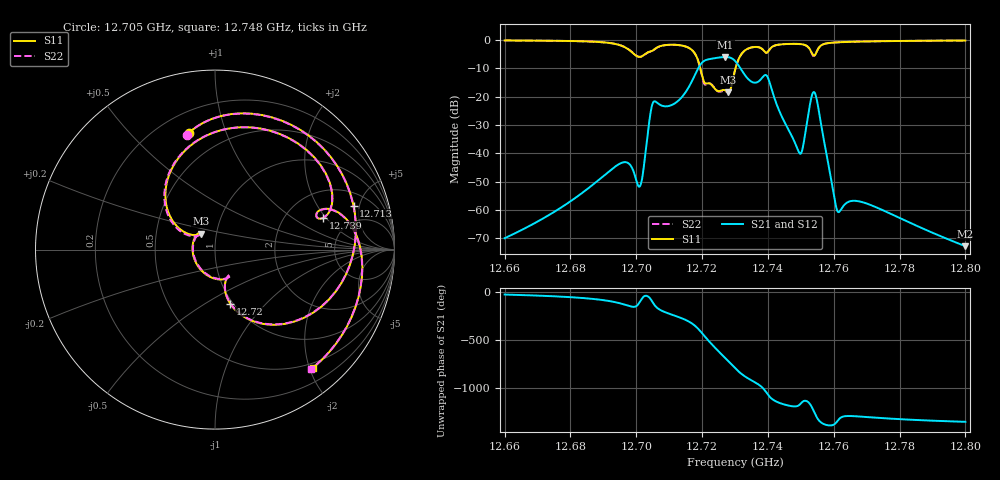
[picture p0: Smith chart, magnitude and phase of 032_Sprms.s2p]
! TOUCHSTONE file generated by CST MICROWAVE STUDIO
! Date and time: Wed Jul 31 12:16:33 2024
! Project name: WaveGuide_BPF-Ver4.1_U-shape_Ku_T3_C4_CWA_2.cst
! Parameters = {cavity_h=16; cavity_l0=10; cavity_l1=15.1814; cavity_l2=16.877; cavity_l3=17.1313; cavity_l4=17.2266; cavity_l5=17.1348; cavity_l6=17.6271; cavity_r=2.5; cavity_screw_l=0.5; cavity_screw_r=1.5; cavity_w=8; iris_h00=0; iris_h01=8.8243; iris_h112=0; iris_h12=5.5989; iris_h211=3.6547; i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
! Header version: 2018
! Port assignment regex: !\s*Touchstone port\s*([0-9]+)\s*=\s*(CST MWS port|CST DS port)\s*([0-9]+|Zmin|Zmax)\s*\(\"(.*)\"\)(\s*mode\s*([0-9]+))?.*
! Touchstone port assignment:
! Touchstone port 1 = CST MWS port 1 ("")
! Touchstone port 2 = CST MWS port 2 ("")
# GHz S RI R 50
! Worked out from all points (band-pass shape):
!   5001 points, 12.66 GHz to 12.8 GHz, reference 50 ohm
!   highest |S21| = -6.00 dB at 12.727 GHz (marker M1); lowest = -72.8 dB at 12.8 GHz (marker M2)
!   |S21| within 3 dB of the highest: 12.71932 GHz to 12.73109 GHz (11.78 MHz wide, 0.0925 % of centre)
!   lowest |S11| = -18.4 dB at 12.728 GHz (marker M3), VSWR 1.27, Z = 42 + j7.63 ohm
!   |S11| at or under -10 dB: 12.71948 GHz to 12.73014 GHz (10.66 MHz wide, 0.0838 % of centre)
!   |S22| runs from -18.5 to -0.2 dB; largest |S21 - S12| = 1e-09
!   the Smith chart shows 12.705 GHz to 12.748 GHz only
!   S11 on the Smith chart (normalised r, x): 12.705 GHz: 0.32, +0.75; 12.713 GHz: 3.08, +4.37; 12.72 GHz: 0.97, -0.65; 12.739 GHz: 3.20, +1.86; 12.748 GHz: 0.42, -2.05
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12.66  0.2931 0.9367  0.000295 -0.000118  0.000295 -0.000118  0.2981 0.9352
12.68335  0.7291 0.6097  0.00106 -0.00165  0.00106 -0.00165  0.7323 0.6063
12.69382  0.8425 -0.0782  -0.0014 -0.0058  -0.0014 -0.0058  0.8445 -0.0778
12.69867  0.1616 -0.5882  -0.00481 -0.00287  -0.00481 -0.00287  0.1781 -0.5908
12.70136  -0.4835 -0.1516  0.000279 -0.0028  0.000279 -0.0028  -0.4751 -0.1752
12.70528  -0.1455 0.6515  -0.0392 -0.0714  -0.0392 -0.0714  -0.1587 0.6404
12.70668  0.0765 0.7528  -0.0743 -0.0127  -0.0743 -0.0127  0.0631 0.7496
12.7132  0.7718 0.2447  -0.0122 0.0887  -0.0122 0.0887  0.7702 0.2476
12.7195  0.085 -0.3014  0.2479 -0.2719  0.2479 -0.2719  0.0816 -0.2926
12.72303  -0.0142 -0.1579  -0.4656 0.0572  -0.4656 0.0572  0.0096 -0.1615
12.72513  -0.1244 -0.013  -0.0636 0.4868  -0.0636 0.4868  -0.1173 -0.0346
12.72709  -0.0867 0.0953  0.4371 0.2449  0.4371 0.2449  -0.0934 0.083
12.72801  -0.0797 0.0896  0.496 -0.0265  0.496 -0.0265  -0.0853 0.0821
12.73  -0.241 0.1682  0.1199 -0.4112  0.1199 -0.4112  -0.2444 0.1592
12.73386  0.1655 0.6821  -0.209 7.29e-05  -0.209 7.29e-05  0.1571 0.6816
12.73896  0.6022 0.1761  0.1312 0.1989  0.1312 0.1989  0.6021 0.1768
12.7484  0.5439 -0.6593  -0.00644 -0.013  -0.00644 -0.013  0.536 -0.6644
12.75033  0.3394 -0.7687  0.00304 -0.0105  0.00304 -0.0105  0.3278 -0.7715
12.75335  0.0216 -0.5857  -0.0586 -0.0864  -0.0586 -0.0864  0.0195 -0.5685
12.76122  -0.2897 -0.863  -7.79e-05 0.000931  -7.79e-05 0.000931  -0.2967 -0.8607
12.77668  -0.8813 -0.372  -0.000397 0.000797  -0.000397 0.000797  -0.8843 -0.3651
12.8  -0.9608 0.1873  3.25e-05 0.000228  3.25e-05 0.000228  -0.9596 0.1938
